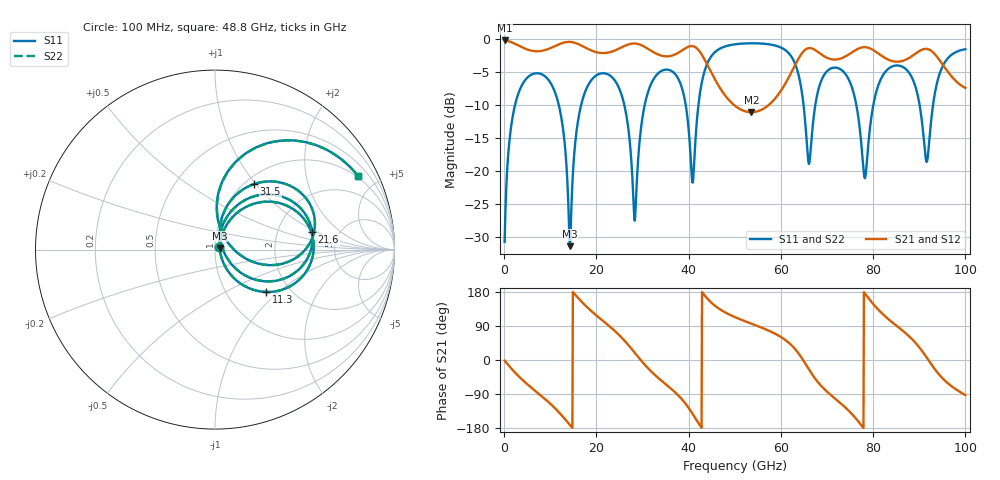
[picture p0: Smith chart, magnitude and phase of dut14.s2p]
! Touchstone file exported from HFSS 2026.1.0
!  File:  C:/ffzhzh/LocalFiles/Ansys_Project_Files/temp_train_TSV_RDL_14_1783613203_29156.aedt
!  Generated:  12:21:05 AM Jul 10, 2026
!  Design:  TSV_RDL
!  Project:  temp_train_TSV_RDL_14_1783613203_29156
! Variables:
!  h_bsmrdl = 4.36um
!  h_ox = 20um
!  h_rdl = 5um
!  h_sub = 90.95um
!  h_tmrdl = 3.06um
!  h_tsv = 90.95um
!  h_via = 3um
!  l_bsmrdl = 409.82um
!  l_sub = 3830.06um
!  l_tmrdl = 521.29um
!  m_sub = 200um
!  pitch = 45.87um
!  r_tsv = 5.89um
!  s_tmrdl = 10um
!  w_bsmrdl = 25.19um
!  w_sub = 500um
!  w_tmrdl = 13.29um
!  x_tsv_center1 = 527.935um
!  x_tsv_center2 = 962.945um
!  x_tsv_center3 = 1497.525um
!  x_tsv_center4 = 1932.535um
!  x_tsv_center5 = 2467.115um
!  x_tsv_center6 = 2902.125um
# GHz S MA R 50.000000
! Terminal data exported
! Port[1] = TM_RDL1_1_T1
! Port[2] = TM_RDL5_1_T1
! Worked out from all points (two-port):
!   1000 points, 100 MHz to 100 GHz, reference 50 ohm
!   highest |S21| = -0.21 dB at 100 MHz (marker M1); lowest = -11.1 dB at 53.6 GHz (marker M2)
!   |S21| within 3 dB of the highest: start of sweep to 43.53 GHz; 63.63 GHz to 83.59 GHz (19.96 GHz wide, 27.1 % of centre) (the widest 2 of 3)
!   lowest |S11| = -31.4 dB at 14.3 GHz (marker M3), VSWR 1.06, Z = 52.6 + j0.906 ohm
!   |S11| at or under -10 dB: 11.84 GHz to 16.69 GHz (4.845 GHz wide, 34 % of centre); 26.05 GHz to 30.47 GHz (4.419 GHz wide, 15.6 % of centre); 76.35 GHz to 80.04 GHz (3.681 GHz wide, 4.71 % of centre) (the widest 3 of 7)
!   |S22| runs from -31.5 to -0.6 dB; largest |S21 - S12| = 1.6e-14
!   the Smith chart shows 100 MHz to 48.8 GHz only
!   S11 on the Smith chart (normalised r, x): 100 MHz: 1.05, +0.03; 11.3 GHz: 1.52, -0.83; 21.6 GHz: 3.17, +0.90; 31.5 GHz: 1.10, +0.98; 48.8 GHz: 0.94, +3.92
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0.1  0.02898 31.6  0.9756 -1.5  0.9756 -1.5  0.02898 31.6
! Gamma 0 0 0 0
! Port Impedance 50 0 50 0
3.4  0.4132 40.1  0.8818 -46.0  0.8818 -46.0  0.4132 40.1
11.3  0.3704 -39.6  0.8937 -130.7  0.8937 -130.7  0.3704 -39.6
14.3  0.0269 18.6  0.951 -171.9  0.951 -171.9  0.02667 18.7
16.8  0.3278 58.2  0.8908 153.7  0.8908 153.7  0.3277 58.3
21.6  0.5504 10.4  0.7829 101.4  0.7829 101.4  0.5503 10.5
25.9  0.333 -32.1  0.88 53.6  0.88 53.6  0.3329 -32.0
28.3  0.04195 16.7  0.9254 19.3  0.9254 19.3  0.04295 17.0
31.5  0.4259 59.1  0.8296 -25.6  0.8296 -25.6  0.4262 59.0
33.4  0.5502 40.1  0.7632 -47.3  0.7632 -47.3  0.5505 40.0
38.9  0.3827 -11.9  0.8344 -108.8  0.8344 -108.8  0.383 -11.8
41.7  0.2214 87.5  0.8553 -158.4  0.8553 -158.4  0.222 87.1
48.8  0.8963 27.2  0.3429 120.1  0.3429 120.1  0.8963 27.1
50.1  0.9127 20.6  0.311 112.8  0.311 112.8  0.9128 20.6
53.6  0.9286 5.3  0.2789 95.9  0.2789 95.9  0.9287 5.2
62.7  0.6934 -48.5  0.5982 34.0  0.5982 34.0  0.6934 -48.6
66.7  0.1838 18.9  0.8491 -36.6  0.8491 -36.6  0.1838 18.8
72  0.6065 -14.5  0.6997 -104.4  0.6997 -104.4  0.6065 -14.5
77.4  0.1656 -51.1  0.8612 -171.6  0.8612 -171.6  0.1655 -51.2
83.4  0.599 13.5  0.6949 106.8  0.6949 106.8  0.5991 13.4
91.7  0.1189 12.9  0.841 4.8  0.841 4.8  0.1176 12.8
100  0.8372 -4.9  0.4263 -92.9  0.4263 -92.9  0.8371 -5.0
